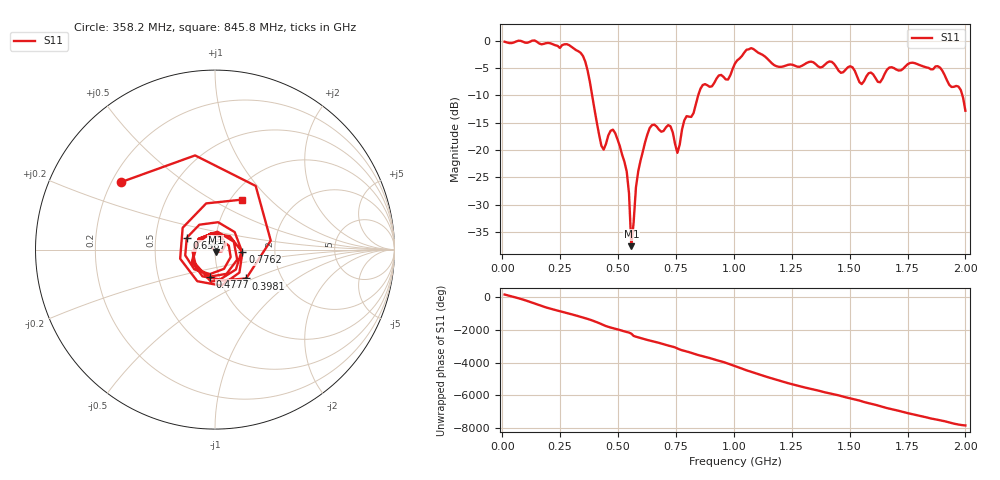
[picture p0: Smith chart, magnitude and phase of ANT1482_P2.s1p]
!Created with skrf (http://scikit-rf.org).
# Hz S RI R 50.0
!freq ReS11 ImS11
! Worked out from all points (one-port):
!   201 points, 10 MHz to 2 GHz, reference 50 ohm
!   lowest |S11| = -37.6 dB at 557.2 MHz (marker M1), VSWR 1.03, Z = 50.3 - j1.29 ohm
!   |S11| at or under -10 dB: 387.9 MHz to 846 MHz (458.1 MHz wide, 74.2 % of centre); 1.987 GHz to end of sweep
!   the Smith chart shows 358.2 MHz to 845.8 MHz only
!   S11 on the Smith chart (normalised r, x): 358.2 MHz: 0.24, +0.30; 398.1 MHz: 1.33, -0.45; 477.6 MHz: 0.90, -0.28; 656.8 MHz: 0.72, +0.10; 776.1 MHz: 1.36, -0.04; 845.8 MHz: 1.12, +0.69
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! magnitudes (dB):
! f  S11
! 10 MHz  -0.2
! 258.8 MHz  -0.8
! 358.2 MHz  -3.8
! 398.1 MHz  -12.5
! 437.9 MHz  -19.9
! 477.6 MHz  -16.3
! 507.5 MHz  -19.3
! 537.4 MHz  -23.9
! 547.3 MHz  -28.0
! 557.2 MHz  -37.6
! 587.1 MHz  -23.9
! 626.9 MHz  -17.1
! 656.8 MHz  -15.4
! 726.4 MHz  -15.7
! 756.2 MHz  -20.5
! 776.1 MHz  -16.3
! 845.8 MHz  -10.0
! 935.4 MHz  -6.4
! 975.1 MHz  -7.1
! 1.005 GHz  -4.2
! 1.075 GHz  -1.4
! 1.254 GHz  -4.4
! 1.502 GHz  -4.7
! 1.552 GHz  -7.9
! 1.751 GHz  -4.3
! 1.891 GHz  -4.9
! 1.98 GHz  -9.0
! 2 GHz  -12.8
